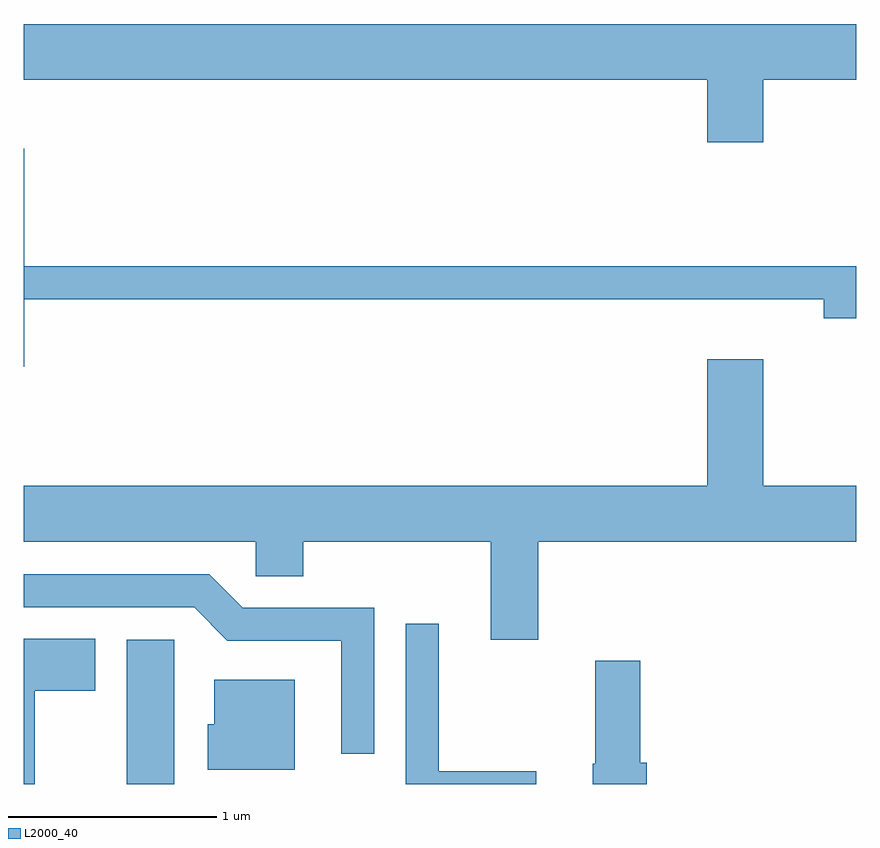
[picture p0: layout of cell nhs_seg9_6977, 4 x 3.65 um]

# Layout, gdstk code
import gdstk
lib = gdstk.Library(unit=1e-6, precision=1e-09)
def R(c, l, rs):  # rectangles x0, y0, x1, y1
    for r in rs: c.add(gdstk.rectangle(r[:2], r[2:], *l))
def P(c, l, *ps):  # polygons
    for p in ps: c.add(gdstk.Polygon(p, *l))
L2000_40 = (2000, 40)

nhs_seg9_6977 = lib.new_cell('nhs_seg9_6977')
R(nhs_seg9_6977, L2000_40, [(392.106,1988.432,392.334,1989.124)])
P(nhs_seg9_6977, L2000_40, [(395.164,1991.816),(395.611,1991.816),(395.611,1992.084),(391.611,1992.084),(391.611,1991.816),(394.896,1991.816),(394.896,1991.516),(395.164,1991.516)],
  [(391.614,1990.761),(395.456,1990.761),(395.456,1990.671),(395.611,1990.671),(395.611,1990.919),(391.614,1990.919),(391.614,1991.484),(391.611,1991.484),(391.611,1990.436),(391.614,1990.436)],
  [(394.084,1989.596),(395.611,1989.596),(395.611,1989.864),(395.164,1989.864),(395.164,1990.474),(394.896,1990.474),(394.896,1989.864),(391.611,1989.864),(391.611,1989.596),(392.726,1989.596),(392.726,1989.431),(392.954,1989.431),(392.954,1989.596),(393.856,1989.596),(393.856,1989.126),(394.084,1989.126)],
  [(393.294,1989.279),(392.662,1989.279),(392.502,1989.439),(391.611,1989.439),(391.611,1989.281),(392.429,1989.281),(392.589,1989.121),(393.136,1989.121),(393.136,1988.578),(393.294,1988.578)],
  [(394.074,1988.494),(393.604,1988.494),(393.604,1989.203),(393.446,1989.203),(393.446,1988.432),(394.074,1988.432)],
  [(391.664,1988.881),(391.954,1988.881),(391.954,1989.129),(391.611,1989.129),(391.611,1988.432),(391.664,1988.432)],
  [(394.604,1988.534),(394.574,1988.534),(394.574,1989.024),(394.356,1989.024),(394.356,1988.53),(394.346,1988.53),(394.346,1988.432),(394.604,1988.432)],
  [(392.914,1988.934),(392.526,1988.934),(392.526,1988.719),(392.496,1988.719),(392.496,1988.501),(392.914,1988.501)])

lib.write_gds('nhs_seg9_6977.gds')
